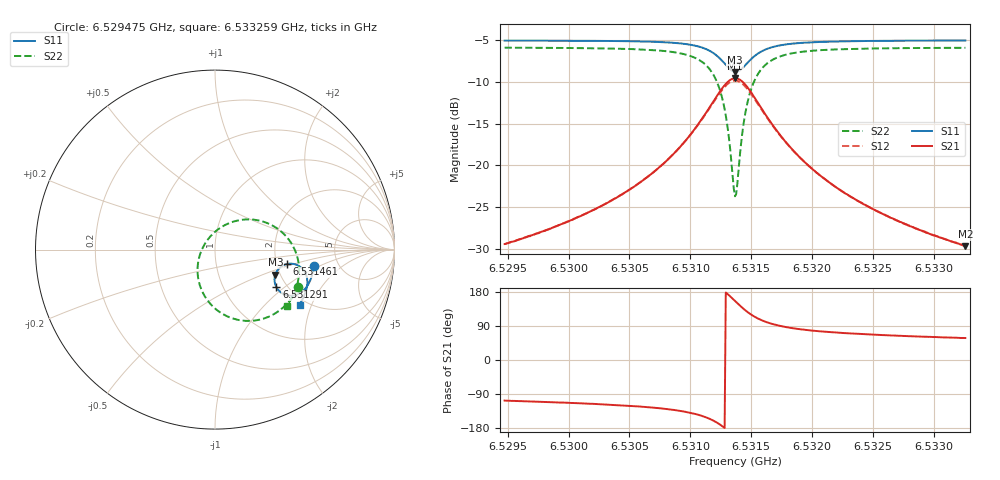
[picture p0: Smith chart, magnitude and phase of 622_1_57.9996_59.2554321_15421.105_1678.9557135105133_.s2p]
#  HZ  S  RI  R  50.00
! Rohde & Schwarz Vector Network Analyzer
! Rohde-Schwarz,ZNB20-2Port,1311601062101988,3.16
! Created: UTC 3/21/2024, 1:18:10 AM
! freq[Hz]  re:S11  im:S11  re:S21  im:S21  re:S12  im:S12  re:S22  im:S22
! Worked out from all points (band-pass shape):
!   401 points, 6.529475 GHz to 6.533259 GHz, reference 50 ohm
!   highest |S21| = -9.54 dB at 6.531367 GHz (marker M1); lowest = -29.7 dB at 6.533259 GHz (marker M2)
!   |S21| within 3 dB of the highest: 6.531179 GHz to 6.531557 GHz (378.2 kHz wide, 0.00579 % of centre)
!   lowest |S11| = -8.8 dB at 6.531367 GHz (marker M3), VSWR 2.14, Z = 94.3 - j30.3 ohm
!   |S11| at or under -10 dB: nowhere
!   |S22| runs from -23.7 to -5.9 dB; largest |S21 - S12| = 0.014
!   S11 on the Smith chart (normalised r, x): 6.529475 GHz: 3.29, -0.89; 6.531291 GHz: 1.76, -0.88; 6.531461 GHz: 2.27, -0.44; 6.533259 GHz: 1.83, -1.64
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6.5294748e9  0.5529 -0.0923  -0.00992 -0.0322  -0.0106 -0.032  0.4628 -0.2107
6.5301086e9  0.54 -0.1457  -0.0207 -0.0456  -0.0219 -0.0451  0.4274 -0.2701
6.5304586e9  0.5271 -0.1791  -0.0344 -0.0591  -0.0358 -0.0582  0.3913 -0.3117
6.5307424e9  0.5083 -0.2108  -0.0587 -0.0772  -0.0608 -0.0755  0.3367 -0.3548
6.5309695e9  0.4768 -0.2408  -0.1052 -0.0971  -0.1083 -0.0932  0.243 -0.3916
6.5311303e9  0.4271 -0.2571  -0.1825 -0.099  -0.1843 -0.091  0.1032 -0.3848
6.5312249e9  0.3777 -0.2453  -0.2584 -0.0622  -0.2559 -0.0508  -0.0208 -0.3078
6.5312627e9  0.3559 -0.2285  -0.2898 -0.0267  -0.2841 -0.0155  -0.0666 -0.2425
6.5312911e9  0.3425 -0.2095  -0.3084 0.01  -0.2998 0.0204  -0.0903 -0.1778
6.5313195e9  0.3334 -0.1852  -0.318 0.0547  -0.3071 0.063  -0.0972 -0.1024
6.5313478e9  0.3321 -0.1578  -0.3145 0.1038  -0.3021 0.109  -0.0823 -0.0232
6.5313668e9  0.3361 -0.1392  -0.3043 0.1359  -0.2914 0.1388  -0.0592 0.0275
6.5313857e9  0.3439 -0.1221  -0.2876 0.1656  -0.2753 0.1662  -0.0269 0.0723
6.5314235e9  0.3685 -0.0951  -0.2409 0.2108  -0.2307 0.2081  0.0576 0.1378
6.5314614e9  0.3985 -0.0809  -0.1867 0.2339  -0.1795 0.2295  0.1505 0.1662
6.5315276e9  0.4458 -0.0817  -0.1047 0.2326  -0.1013 0.2289  0.2873 0.1492
6.5316222e9  0.4864 -0.1061  -0.0356 0.1961  -0.0341 0.1941  0.398 0.0719
6.5317641e9  0.5092 -0.1447  0.00449 0.1438  0.00589 0.1429  0.4561 -0.0326
6.5320006e9  0.5144 -0.1893  0.0206 0.093  0.0217 0.0928  0.468 -0.1363
6.532256e9  0.5088 -0.2221  0.0224 0.0655  0.0234 0.0652  0.4571 -0.1984
6.5326344e9  0.4959 -0.2587  0.0206 0.0443  0.0216 0.0441  0.4357 -0.2546
6.5332587e9  0.4709 -0.3066  0.0174 0.0278  0.0182 0.0275  0.4004 -0.3123
